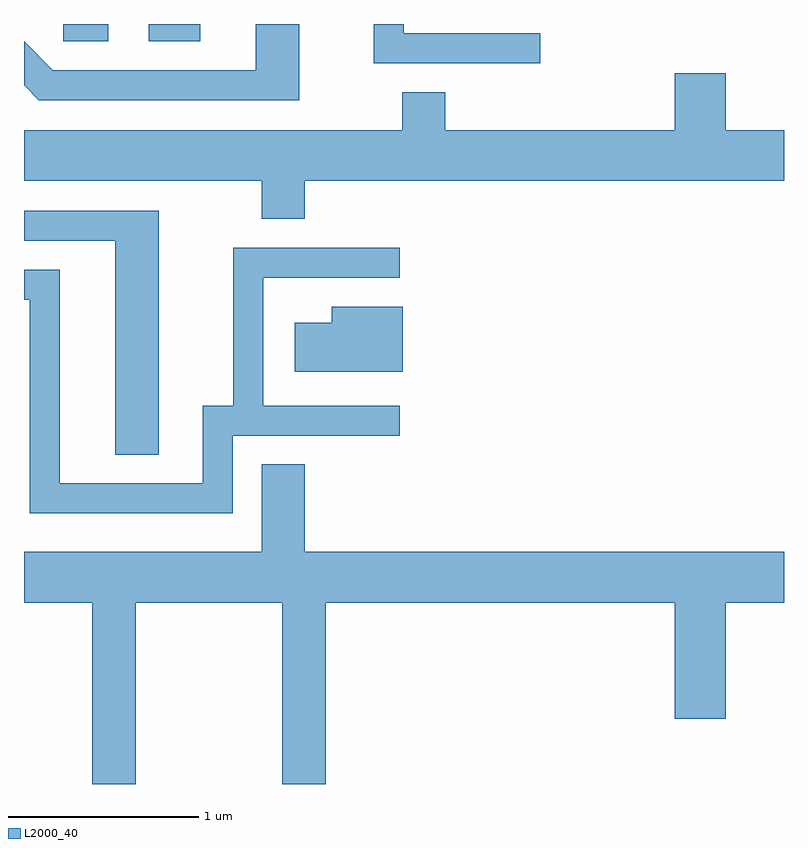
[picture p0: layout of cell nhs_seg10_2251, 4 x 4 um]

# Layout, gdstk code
import gdstk
lib = gdstk.Library(unit=1e-6, precision=1e-09)
def R(c, l, rs):  # rectangles x0, y0, x1, y1
    for r in rs: c.add(gdstk.rectangle(r[:2], r[2:], *l))
def P(c, l, *ps):  # polygons
    for p in ps: c.add(gdstk.Polygon(p, *l))
L2000_40 = (2000, 40)

nhs_seg10_2251 = lib.new_cell('nhs_seg10_2251')
R(nhs_seg10_2251, L2000_40, [(251.818,2112.431,252.054,2112.522), (252.268,2112.431,252.539,2112.522)])
P(nhs_seg10_2251, L2000_40, [(253.059,2112.522),(252.831,2112.522),(252.831,2112.279),(251.762,2112.279),(251.611,2112.43),(251.611,2112.199),(251.689,2112.121),(253.059,2112.121)],
  [(254.328,2112.474),(253.609,2112.474),(253.609,2112.522),(253.451,2112.522),(253.451,2112.316),(254.328,2112.316)],
  [(253.089,2111.696),(255.611,2111.696),(255.611,2111.964),(255.304,2111.964),(255.304,2112.264),(255.036,2112.264),(255.036,2111.964),(253.829,2111.964),(253.829,2112.164),(253.601,2112.164),(253.601,2111.964),(251.611,2111.964),(251.611,2111.696),(252.861,2111.696),(252.861,2111.496),(253.089,2111.496)],
  [(252.319,2111.539),(251.611,2111.539),(251.611,2111.381),(252.091,2111.381),(252.091,2110.256),(252.319,2110.256)],
  [(252.709,2110.356),(253.588,2110.356),(253.588,2110.514),(252.869,2110.514),(252.869,2111.186),(253.588,2111.186),(253.588,2111.344),(252.711,2111.344),(252.711,2110.514),(252.551,2110.514),(252.551,2110.104),(251.799,2110.104),(251.799,2111.229),(251.611,2111.229),(251.611,2111.071),(251.641,2111.071),(251.641,2109.946),(252.709,2109.946)],
  [(253.604,2111.034),(253.231,2111.034),(253.231,2110.949),(253.036,2110.949),(253.036,2110.691),(253.604,2110.691)],
  [(253.089,2110.204),(252.861,2110.204),(252.861,2109.744),(251.611,2109.744),(251.611,2109.476),(251.971,2109.476),(251.971,2108.522),(252.199,2108.522),(252.199,2109.476),(252.971,2109.476),(252.971,2108.522),(253.199,2108.522),(253.199,2109.476),(255.036,2109.476),(255.036,2108.866),(255.304,2108.866),(255.304,2109.476),(255.611,2109.476),(255.611,2109.744),(253.089,2109.744)])

lib.write_gds('nhs_seg10_2251.gds')
